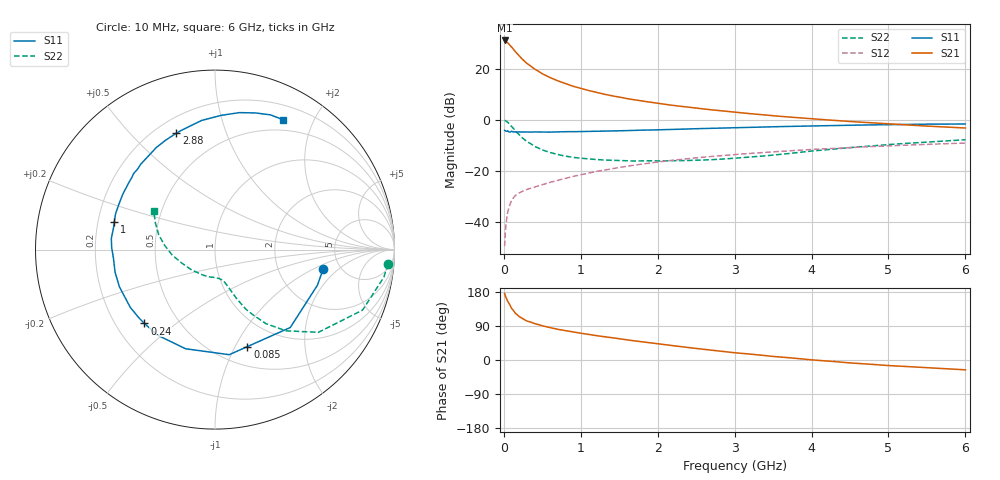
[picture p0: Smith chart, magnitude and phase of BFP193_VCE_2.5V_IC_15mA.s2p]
! Infineon Technologies  Discrete & RF Semiconductors
! BFP193
! VCE = 2.5 V,  IC =  15 mA
! Common Emitter S-Parameters:  Jan 2016
# GHz  S  MA  R  50
!  f  S11  S21  S12  S22
! GHz  MAG  ANG  MAG  ANG  MAG  ANG  MAG  ANG
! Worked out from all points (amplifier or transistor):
!   210 points, 10 MHz to 6 GHz, reference 50 ohm
!   highest |S21| = 31.0 dB at 10 MHz (marker M1)
!   |S21| within 3 dB of that: start of sweep to 112.8 MHz
!   unconditionally stable (mu >= 1): 856.5 MHz to 3.763 GHz
!   at 185 MHz: K = 0.42, MSG = 27.2 dB, |S12| = -29.1 dB
!   at 1.52 GHz: K = 1.08, MAG = 12.0 dB, |S12| = -18.7 dB
!   at 6 GHz: K = 0.92, MSG = 2.9 dB, |S12| = -9.2 dB
!   S11 on the Smith chart (normalised r, x): 10 MHz: 3.70, -1.26; 85 MHz: 0.70, -1.12; 240 MHz: 0.32, -0.39; 1 GHz: 0.27, +0.13; 2.88 GHz: 0.28, +0.68; 6 GHz: 0.37, +1.60
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0.01  0.6126 -10.0  35.44 175.3  0.0033 88.6  0.9661 -4.8
0.02  0.6041 -19.2  34.52 168.9  0.0063 79.5  0.9534 -9.3
0.05  0.6036 -46.0  32.11 154.9  0.0153 71.2  0.8884 -22.3
0.085  0.5697 -71.5  27.89 142.8  0.0228 61.1  0.7757 -33.1
0.1  0.5908 -82.3  26.54 136.5  0.0261 58.6  0.7376 -38.7
0.15  0.5763 -106.5  21.34 123.1  0.0326 51.6  0.5992 -49.0
0.2  0.5741 -123.8  17.59 114.5  0.0364 48.5  0.5001 -55.5
0.24  0.5692 -133.7  15.24 109.4  0.0391 46.8  0.4385 -58.7
0.3  0.5714 -145.6  12.59 102.9  0.0426 46.8  0.372 -62.7
0.4  0.5715 -158.7  9.763 96.0  0.0477 47.6  0.2981 -66.2
0.5  0.5709 -167.3  7.889 90.3  0.0527 48.6  0.2543 -68.3
0.6  0.5677 -175.0  6.651 85.4  0.0588 50.0  0.2257 -70.1
0.7  0.5758 178.9  5.744 81.0  0.0641 51.6  0.2062 -71.7
1  0.5819 164.4  4.06 70.7  0.0829 53.3  0.1747 -76.3
1.02  0.5831 163.6  3.989 70.1  0.0841 53.4  0.1736 -76.7
1.4  0.5992 149.5  2.925 58.9  0.1078 52.9  0.1598 -85.4
2.02  0.6312 130.5  2.059 42.4  0.1482 48.8  0.1543 -104.6
2.88  0.6833 108.3  1.453 21.9  0.1994 40.4  0.1694 -136.8
3.1  0.6954 103.7  1.347 17.4  0.2116 38.0  0.1785 -144.9
4.1  0.7531 85.8  1.01 -1.1  0.2637 27.4  0.2487 -175.8
5.1  0.7972 72.2  0.808 -15.7  0.3089 16.6  0.3313 163.3
6  0.8175 62.2  0.682 -25.9  0.3469 6.9  0.4019 148.1
